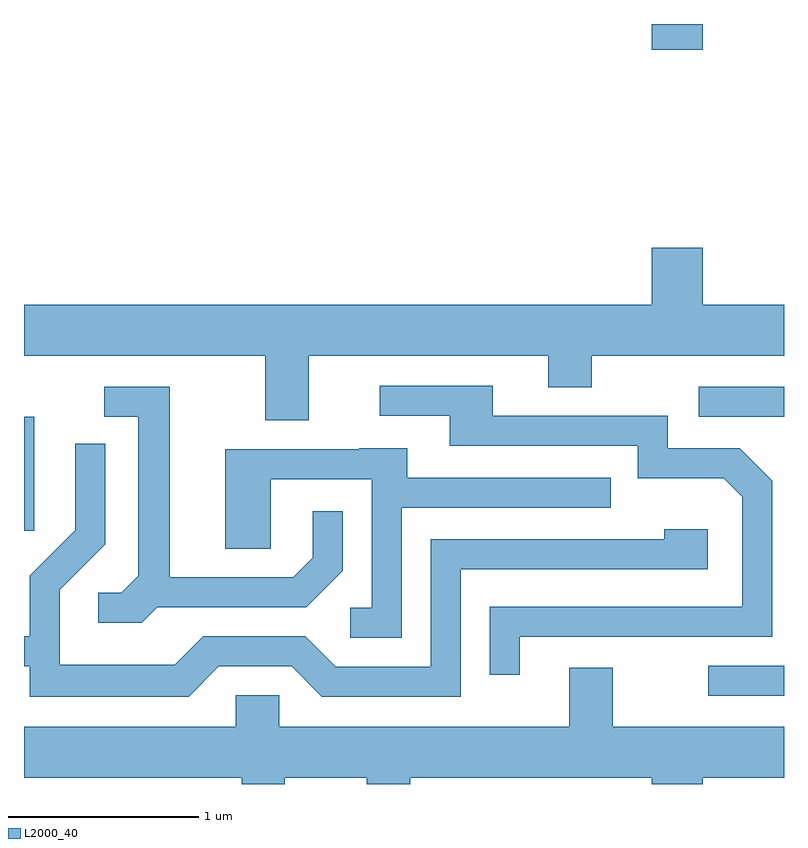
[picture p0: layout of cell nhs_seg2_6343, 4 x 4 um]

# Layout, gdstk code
import gdstk
lib = gdstk.Library(unit=1e-6, precision=1e-09)
def R(c, l, rs):  # rectangles x0, y0, x1, y1
    for r in rs: c.add(gdstk.rectangle(r[:2], r[2:], *l))
def P(c, l, *ps):  # polygons
    for p in ps: c.add(gdstk.Polygon(p, *l))
L2000_40 = (2000, 40)

nhs_seg2_6343 = lib.new_cell('nhs_seg2_6343')
R(nhs_seg2_6343, L2000_40, [(375.213,1084.266,375.611,1084.424), (371.611,1085.136,371.664,1085.734), (374.916,1087.666,375.184,1087.802)])
P(nhs_seg2_6343, L2000_40, [(373.109,1086.056),(374.371,1086.056),(374.371,1085.891),(374.599,1085.891),(374.599,1086.056),(375.611,1086.056),(375.611,1086.324),(375.184,1086.324),(375.184,1086.624),(374.916,1086.624),(374.916,1086.324),(371.611,1086.324),(371.611,1086.056),(372.881,1086.056),(372.881,1085.716),(373.109,1085.716)],
  [(374.219,1084.576),(375.549,1084.576),(375.549,1085.397),(375.377,1085.569),(374.999,1085.569),(374.999,1085.739),(374.079,1085.739),(374.079,1085.899),(373.483,1085.899),(373.483,1085.741),(373.851,1085.741),(373.851,1085.581),(374.841,1085.581),(374.841,1085.411),(375.294,1085.411),(375.391,1085.314),(375.391,1084.734),(374.061,1084.734),(374.061,1084.378),(374.219,1084.378)],
  [(375.611,1085.894),(375.163,1085.894),(375.163,1085.736),(375.609,1085.736),(375.611,1085.734)],
  [(372.312,1084.731),(373.097,1084.731),(373.289,1084.924),(373.289,1085.238),(373.131,1085.238),(373.131,1084.992),(373.029,1084.889),(372.379,1084.889),(372.379,1085.894),(372.033,1085.894),(372.033,1085.736),(372.211,1085.736),(372.211,1084.897),(372.124,1084.809),(372.003,1084.809),(372.003,1084.651),(372.232,1084.651)],
  [(372.637,1084.421),(373.019,1084.421),(373.179,1084.261),(373.909,1084.261),(373.909,1084.931),(375.209,1084.931),(375.209,1085.144),(374.981,1085.144),(374.981,1085.089),(373.751,1085.089),(373.751,1084.419),(373.252,1084.419),(373.092,1084.579),(372.554,1084.579),(372.404,1084.429),(371.799,1084.429),(371.799,1084.824),(372.039,1085.064),(372.039,1085.593),(371.881,1085.593),(371.881,1085.137),(371.641,1084.897),(371.641,1084.579),(371.611,1084.579),(371.611,1084.421),(371.641,1084.421),(371.641,1084.261),(372.477,1084.261)],
  [(373.599,1085.256),(374.698,1085.256),(374.698,1085.414),(373.629,1085.414),(373.629,1085.569),(373.375,1085.569),(373.375,1085.564),(372.671,1085.564),(372.671,1085.041),(372.909,1085.041),(372.909,1085.406),(373.441,1085.406),(373.441,1084.729),(373.328,1084.729),(373.328,1084.571),(373.599,1084.571)],
  [(372.984,1083.836),(373.416,1083.836),(373.416,1083.802),(373.644,1083.802),(373.644,1083.836),(374.916,1083.836),(374.916,1083.802),(375.184,1083.802),(375.184,1083.836),(375.611,1083.836),(375.611,1084.104),(374.709,1084.104),(374.709,1084.414),(374.481,1084.414),(374.481,1084.104),(372.954,1084.104),(372.954,1084.269),(372.726,1084.269),(372.726,1084.104),(371.611,1084.104),(371.611,1083.836),(372.756,1083.836),(372.756,1083.802),(372.984,1083.802)])

lib.write_gds('nhs_seg2_6343.gds')
